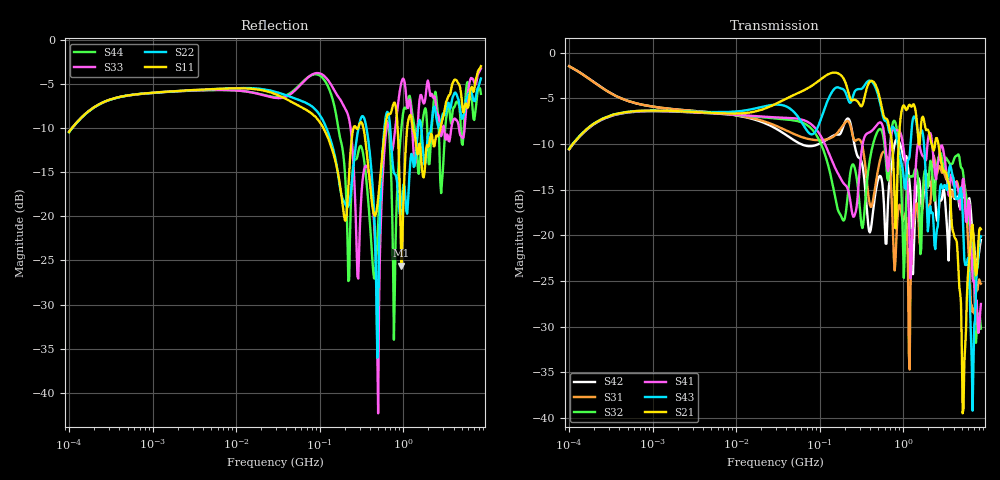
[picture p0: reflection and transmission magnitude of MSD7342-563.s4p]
# MHz S MA R 50
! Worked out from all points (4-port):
!   498 points, 100 kHz to 8.5 GHz, reference 50 ohm
!   strongest paths, dB at 100 kHz, 1.698 MHz, 29.49 MHz, 500.7 MHz, 8.5 GHz:
!     S21: -10.5, -6.4, -5.6, -4.3, -19.3
!     S43: -10.5, -6.4, -5.7, -4.6, -20.1
!     S41: -10.6, -6.4, -7.1, -7.7, -27.5
!     S32: -10.6, -6.4, -7.2, -8.5, -30.2
!     S31: -1.5, -6.2, -8.0, -12.7, -25.3
!     S42: -1.5, -6.2, -8.3, -13.8, -20.5
!   lowest |S11| = -25.6 dB at 949 MHz (marker M1), VSWR 1.11, Z = 46.1 - j3.28 ohm
!   |S11| at or under -10 dB: 333.6 MHz to 606.8 MHz (273.2 MHz wide, 58.1 % of centre); 855.8 MHz to 1.114 GHz (257.7 MHz wide, 26.2 % of centre); 1.304 GHz to 2.796 GHz (1.492 GHz wide, 72.8 % of centre)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
0.1  0.3006 51.8  0.2971 52.2  0.8429 -16.5  0.2956 -128.2
     0.2971 52.2  0.3 52.0  0.2957 -128.2  0.8439 -16.5
     0.8429 -16.5  0.2957 -128.2  0.3025 52.0  0.2981 51.9
     0.2956 -128.2  0.8439 -16.5  0.2981 51.9  0.3005 51.8
108.3963  0.3228 -58.9  0.7285 -10.4  0.3325 138.8  0.3355 -12.1
          0.7285 -10.4  0.3528 -73.3  0.3009 -15.0  0.324 116.9
          0.3325 138.8  0.3009 -15.0  0.6348 -44.1  0.4613 4.4
          0.3355 -12.1  0.324 116.9  0.4613 4.4  0.6091 -59.1
500.661  0.1263 77.3  0.6123 -104.0  0.2305 -43.6  0.4099 -45.4
         0.6123 -104.0  0.03264 10.5  0.3752 -30.9  0.203 -49.1
         0.2305 -43.6  0.3752 -30.9  0.007648 9.4  0.5855 -107.6
         0.4099 -45.4  0.203 -49.1  0.5855 -107.6  0.09113 45.2
948.981  0.05261 -137.7  0.4713 -116.5  0.1339 -144.1  0.3509 -153.3
         0.4713 -116.5  0.1118 -114.8  0.1793 178.7  0.2993 -144.2
         0.1339 -144.1  0.1793 178.7  0.572 -104.1  0.2522 -170.3
         0.3509 -153.3  0.2993 -144.2  0.2522 -170.3  0.3151 -68.9
1970.81  0.2486 105.6  0.3788 59.1  0.1384 114.3  0.3318 99.6
         0.3788 59.1  0.2839 126.7  0.1822 104.6  0.2155 75.9
         0.1384 114.3  0.1822 104.6  0.5895 90.2  0.1053 38.2
         0.3318 99.6  0.2155 75.9  0.1053 38.2  0.2567 77.0
5261.791  0.388 5.3  0.01122 137.2  0.1836 -15.4  0.2045 -32.2
          0.01122 137.2  0.3749 6.2  0.2124 -40.9  0.1651 -33.7
          0.1836 -15.4  0.2124 -40.9  0.2802 25.7  0.09971 -36.7
          0.2045 -32.2  0.1651 -33.7  0.09971 -36.7  0.2941 -16.7
8500  0.7103 -62.8  0.1082 39.5  0.05443 -10.6  0.04216 -58.6
      0.1082 39.5  0.6043 -64.4  0.03092 -86.3  0.09442 -95.2
      0.05443 -10.6  0.03092 -86.3  0.6891 -60.4  0.09871 41.4
      0.04216 -58.6  0.09442 -95.2  0.09871 41.4  0.4951 -79.9
